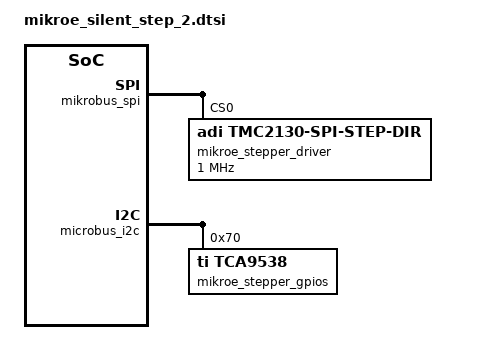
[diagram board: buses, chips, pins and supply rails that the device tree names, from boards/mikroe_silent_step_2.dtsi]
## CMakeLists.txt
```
# Copyright (c) 2021-2023 TiaC Systems
# Copyright (c) 2019-2021 Li-Pro.Net
# SPDX-License-Identifier: Apache-2.0

cmake_minimum_required(VERSION 3.20.0)

# Standard Bridle application boilerplate, includes Zephyr.
find_package(Zephyr REQUIRED HINTS $ENV{ZEPHYR_BASE})
project("stepper demo" VERSION 0.1)

# Add your source file to the "app" target. This must come after
# the boilerplate code, which defines the target.
target_sources(app PRIVATE src/main.c)
```

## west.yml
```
# Copyright (c) 2025 Navimatix GmbH
# SPDX-License-Identifier: Apache-2.0

manifest:
  remotes:
    # Url for the Github organization where the Zephyr repository (or in this case a fork)
    # is hosted. This can also be used to include other dependencies.
    - name: tiacsys
      url-base: https://github.com/tiacsys

  projects:
    # Definition of the Zephyr project to use
    - name: zephyr
      # We are using a fork of zephyr of the tiacsys organization
      remote: tiacsys
      # Zephyr branch used for this demo
      revision: tmc2130
      # Allows for calling o west commands without giving script source paths every time
      west-commands: scripts/west-commands.yml
      # Import the external modules required for this project using a whitelist. During
      # early development it is often easier to just import all modules with import: true
      # but this requires additional disk space and might slow down the build process.
      import:
        name-allowlist:
          - hal_nxp
          - hal_stm32
          - hal_rpi_pico
          - cmsis
```

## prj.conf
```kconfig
# Copyright (c) 2025 Navimatix GmbH
# SPDX-License-Identifier: Apache-2.0

CONFIG_BOOT_BANNER=y
CONFIG_INPUT=y
CONFIG_EVENTS=y
CONFIG_PRINTK=y
CONFIG_LOG=y
CONFIG_LOG_CMDS=y
CONFIG_TASK_WDT=y
CONFIG_COUNTER=y
CONFIG_ADC=y
CONFIG_GPIO=y
CONFIG_I2C=y
CONFIG_SPI=y
CONFIG_STEPPER=y
CONFIG_STEPPER_STEP_DIR_GENERATE_ISR_SAFE_EVENTS=y
```

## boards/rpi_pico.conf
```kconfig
# Copyright (c) 2025 Navimatix GmbH
# SPDX-License-Identifier: Apache-2.0

CONFIG_USB_DEVICE_STACK=y
CONFIG_USB_DEVICE_INITIALIZE_AT_BOOT=y

# Raspberry Pi @ Raspberry Pi Pico
CONFIG_USB_DEVICE_VID=0x2e8a
CONFIG_USB_DEVICE_PID=0x000a
CONFIG_USB_DEVICE_MANUFACTURER="Raspberry Pi (Navimatix GmbH)"
CONFIG_USB_DEVICE_PRODUCT="RPi Pico (CDC ACM) as EW25 demo"

CONFIG_SERIAL=y
CONFIG_CONSOLE=y
CONFIG_UART_CONSOLE=y
CONFIG_UART_LINE_CTRL=y
```

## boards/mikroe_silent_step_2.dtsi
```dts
/*
 * Copyright (c) 2025 Navimatix GmbH
 * SPDX-License-Identifier: Apache-2.0
 */

/*
 * Aliases for the devices used in the demo, this allows them
 * to be used without knowing the exact hardware configuration.
 */
/ {
	aliases {
		stepper-motor = &mikroe_stepper_driver;
	};
};

&mikrobus_spi {
	status = "okay";
	mikroe_stepper_driver: tmc2130@0 {
		compatible = "adi,tmc2130-spi-step-dir";
		reg = <0>;
		spi-max-frequency = <DT_FREQ_M(1)>; /* Maximum SPI bus frequency */
	};
};

&microbus_i2c {
	status = "okay";

	/* Configuration of the IO expander for driver setups, a TCA9538A. */
	mikroe_stepper_gpios: tca9538a@70 {
		compatible = "ti,tca9538";
		status = "okay";

		reg = <0x70>;

		gpio-controller;
		#gpio-cells = <2>;

		ngpios = <8>;

		gpio-reserved-ranges = <3 1>;
		gpio-line-names = "EN",		/* P0 */
				  "FT1",	/* P1 */
				  "FT2";	/* P2 */
	};
};
```

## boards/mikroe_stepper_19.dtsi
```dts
/*
 * Copyright (c) 2025 Navimatix GmbH
 * SPDX-License-Identifier: Apache-2.0
 */

/*
 * Aliases for the devices used in the demo, this allows them
 * to be used without knowing the exact hardware configuration.
 */
/ {
	aliases {
		stepper-motor = &mikroe_stepper_driver;
	};

	/* Configuration of the stepper motor driver, a DRV8424. */
	mikroe_stepper_driver: drv8424 {
		compatible = "ti,drv8424";
		status = "okay";

		#address-cells = <1>;
		#size-cells = <0>;
		#stepper-motor-cells = <0>;

		/*
		 * Timing source to generate the step signal. This one uses
		 * a counter to generate the signal and features acceleration.
		 */
		timing-source = "counter-accel";
	};
};

&microbus_i2c {
	status = "okay";

	/* Configuration of the IO expander for driver setups, a TCA9538A. */
	mikroe_stepper_gpios: tca9538a@70 {
		compatible = "ti,tca9538";
		status = "okay";

		reg = <0x70>;

		gpio-controller;
		#gpio-cells = <2>;

		ngpios = <8>;

		gpio-reserved-ranges = <7 1>;
		gpio-line-names = "M0",		/* S0 */
				  "M1",		/* S1 */
				  "DEC0",	/* S2 */
				  "DEC1",	/* S3 */
				  "TOFF",	/* S4 */
				  "STP",	/* S5 */
				  "DIR";	/* S6 */
	};
};
```

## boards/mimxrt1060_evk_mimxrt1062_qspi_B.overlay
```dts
/*
 * Copyright (c) 2025 Navimatix GmbH
 * SPDX-License-Identifier: Apache-2.0
 */

microbus_i2c: &arduino_i2c {};
#include "mikroe_stepper_19.dtsi"
#include "potentiometer_input.dtsi"

#include <zephyr/dt-bindings/gpio/gpio.h>

&mikroe_stepper_driver {
	sleep-gpios = <&arduino_header 9 GPIO_ACTIVE_LOW>;	/* D3 */
	dir-gpios = <&arduino_header 10 0>;			/* D4 */
	step-gpios = <&arduino_header 8 0>;			/* D2 */
	en-gpios = <&arduino_header 11 0>;			/* D5 */
	m0-gpios = <&mikroe_stepper_gpios 0 0>;			/* S0 */
	m1-gpios = <&mikroe_stepper_gpios 1 0>;			/* S1 */

	/* Timing source configuration. */
	counter = <&pit0_channel0>;
	accurate-steps = <15>;
	acceleration = <1600>;
};

&pit0_channel0 {
	status = "okay";
};

&adc1 {
	#address-cells = <1>;
	#size-cells = <0>;

	/* ADC channel configuration for the potentiometer. */
	channel@0 {
		reg = <0>;
		zephyr,gain = "ADC_GAIN_1";
		zephyr,reference = "ADC_REF_INTERNAL";
		zephyr,acquisition-time = <ADC_ACQ_TIME_DEFAULT>;
		zephyr,resolution = <12>;
	};
};

&potentiometer_input {
	io-channels = <&adc1 0>;
};
```

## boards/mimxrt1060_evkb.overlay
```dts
/*
 * Copyright (c) 2023-2024 TiaC Systems
 * SPDX-License-Identifier: Apache-2.0
 */

 #include <zephyr/dt-bindings/gpio/gpio.h>

 / {
	 zephyr,user {
		 stepper-motors = <&drv8424 0>;
	 };
 };
 
 &lpi2c1 {
	 status = "okay";
 
	 mikroe_stepper_gpios: mikroe_stepper_ctrl_tca9538a@70 {
		 status = "okay";
		 compatible = "ti,tca9538";
 
		 reg = < 0x70 >;
 
		 gpio-controller;
		 ngpios = < 8 >;
		 #gpio-cells = < 2 >;
 
		 gpio-reserved-ranges = < 7 1 >;
 
		 gpio-line-names =
			 "M0",
			 "M1",
			 "DEC0",
			 "DEC1",
			 "TOFF",
			 "STP",
			 "DIR";
	 };
 };
 
 / {
 
	 drv8424: drv8424 {
		 status = "okay";
		 compatible = "ti,drv8424";
		//  acceleration = < 200 >;
 
 
		 dir-gpios = < &arduino_header 9 0 >; /* D3 */
		 step-gpios = < &arduino_header 10 0 >; /* D4 */
		 sleep-gpios = < &arduino_header 8 GPIO_ACTIVE_LOW >; /* D2 */
		 en-gpios  = < &arduino_header 14 0 >; /* D8 */
		 m0-gpios = < &mikroe_stepper_gpios 0 0 >;
		 m1-gpios = < &mikroe_stepper_gpios 1 0 >;
		//  m0-gpios = < &arduino_header 10 0 >;
		//  m1-gpios = < &arduino_header 11 0 >;
		 counter = < &pit0_channel0 >;
 
		 #address-cells = < 1 >;
		 #size-cells = < 0 >;
		 #stepper-motor-cells = < 0 >;
 
	 };
 };

 &pit0_channel0 {
	status = "okay";
};
 

 
```

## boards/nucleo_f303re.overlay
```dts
/*
 * Copyright (c) 2025 Navimatix GmbH
 * SPDX-License-Identifier: Apache-2.0
 */

microbus_i2c: &arduino_i2c {};
mikrobus_spi: &spi1 {};
#include "mikroe_silent_step_2.dtsi"
#include "potentiometer_input.dtsi"

#include <zephyr/dt-bindings/gpio/gpio.h>

&mikroe_stepper_driver {
	dir-gpios = <&arduino_header 2 0>;			/* A2 */
	step-gpios = <&arduino_header 1 0>;			/* A1 */
	en-gpios = <&mikroe_stepper_gpios 0 GPIO_ACTIVE_LOW>;			/* A4 */

	/* Timing source configuration. */
	counter = <&counter2>;
	timing-source = "counter-accel";
	acceleration = <1600>;
	
	irun = <20>;
	ihold = <20>;
	stealth-chop-enabled;
};

&mikrobus_spi {
	pinctrl-0 = <&spi1_sck_pa5 &spi1_miso_pa6 &spi1_mosi_pa7>;
	pinctrl-names = "default";
	cs-gpios = < &arduino_header 16 0x11 >;
	status = "okay";
};

&timers2 {
	status = "okay";

	counter2: counter {
		 status = "okay";
	};
};

&adc1 {
	#address-cells = <1>;
	#size-cells = <0>;
	status = "okay";
	st,adc-clock-source = "SYNC";
	st,adc-prescaler = <0x2>;
	pinctrl-0 = <&adc1_in1_pa0>;
	pinctrl-names = "default";

	/* ADC channel configuration for the potentiometer. */
	channel@1 {
		reg = <1>;
		zephyr,gain = "ADC_GAIN_1";
		zephyr,reference = "ADC_REF_INTERNAL";
		zephyr,acquisition-time = <ADC_ACQ_TIME_DEFAULT>;
		zephyr,resolution = <12>;
	};
};

&potentiometer_input {
	io-channels = <&adc1 1>;
};
```

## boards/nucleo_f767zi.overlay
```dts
/*
 * Copyright (c) 2025 Navimatix GmbH
 * SPDX-License-Identifier: Apache-2.0
 */

microbus_i2c: &arduino_i2c {};
mikrobus_spi: &spi1 {};
#include "potentiometer_input.dtsi"
#include "mikroe_silent_step_2.dtsi"

#include <zephyr/dt-bindings/gpio/gpio.h>

&mikroe_stepper_driver {

	dir-gpios = <&arduino_header 14 0>; /* D8 */
	step-gpios = <&arduino_header 15 0>; /* D9 */
	en-gpios = <&mikroe_stepper_gpios 0 GPIO_ACTIVE_LOW>; /* D8 */

	/* Timing source configuration. */
	timing-source = "counter-accel";
	counter = <&counter2>;
	acceleration = <1600>;
	
	irun = <20>;
	ihold = <20>;
	stealth-chop-enabled;
};

&mikrobus_spi {
	pinctrl-0 = <&spi1_sck_pa5 &spi1_miso_pa6 &spi1_mosi_pa7>;
	pinctrl-names = "default";
};

&timers2 {
	status = "okay";

	counter2: counter {
		status = "okay";
	};
};

&adc1 {
	#address-cells = <1>;
	#size-cells = <0>;
	pinctrl-0 = <&adc1_in3_pa3>;

	/* ADC channel configuration for the potentiometer. */
	channel@3 {
		reg = <3>;
		zephyr,gain = "ADC_GAIN_1";
		zephyr,reference = "ADC_REF_INTERNAL";
		zephyr,acquisition-time = <ADC_ACQ_TIME_DEFAULT>;
		zephyr,resolution = <12>;
	};
};

&potentiometer_input {
	io-channels = <&adc1 3>;
};
```

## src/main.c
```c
/*
 * Copyright (c) 2025 Navimatix GmbH
 * SPDX-License-Identifier: Apache-2.0
 */

#include "zephyr/device.h"
#include "zephyr/devicetree.h"
#include <zephyr/drivers/counter.h>
#include <zephyr/drivers/gpio.h>
#include <zephyr/drivers/stepper.h>
#include <zephyr/dt-bindings/input/input-event-codes.h>
#include <zephyr/init.h>
#include <zephyr/input/input.h>
#include <zephyr/kernel.h>
#include <zephyr/sys/printk.h>
#include <zephyr/task_wdt/task_wdt.h>

/* Microstep resolution*/
#define MS_RESOLUTION 8

/* Defines speeds for the stepper motor, the api uses step interval timings in
 * nanoseconds, the microstep resolution is set to 8 for this demo and the motor needs 200 fulsteps
 * for one revolution. */
#define SPEED0 1250000 /* 800 microsteps/s -> 100 full steps/s -> 0.5 revolutions/s */
#define SPEED1 625000  /* 1600 microsteps/s -> 200 full steps/s -> 1.0 revolutions/s */
#define SPEED2 416667  /* 2400 microsteps/s -> 300 full steps/s -> 1.5 revolutions/s */

/* Number of microsteps/target posion for regular movement. */
#define SEGMENT_STEPS 6400

/* Defines watchdog timeout. */
#define WATCHDOG_TIMEOUT 5 * SEC_PER_MIN * MSEC_PER_SEC

/* Event IDs */
#define NEW_SPEED_EVENT_ID     0x001
#define MOVE_FINISHED_EVENT_ID 0x002
#define ALL_EVENT_ID           NEW_SPEED_EVENT_ID + MOVE_FINISHED_EVENT_ID

/* User data for the event callback. */
struct speed_selection_data {
	uint64_t speed;
	struct k_event event;
	int32_t watchdog_channel;
};

/* Watchdog callback to stop stepper motor if the speed hasn't changed for some time to save
 * power and reduce heat buildup. */
void watchdog_callback(int channel_id, void *user_data)
{
	struct speed_selection_data *selection_data = user_data;

	printk("Speed hasn't changed for some time, stopping motor.\n");

	selection_data->speed = 0;

	/* Posts the new_speed event after speed is set to 0, causing the motor to be stopped. */
	k_event_post(&selection_data->event, NEW_SPEED_EVENT_ID);
}

/* Stepper Callback, if stepper motor has stopped, send event. */
void stepper_callback(const struct device *dev, const enum stepper_event event, void *user_data)
{
	struct speed_selection_data *selection_data = user_data;

	k_event_post(&selection_data->event, MOVE_FINISHED_EVENT_ID);
}

/* Processes input events. */
static void speed_selection(struct input_event *evt, void *user_data)
{
	struct speed_selection_data *selection_data = user_data;

	/* Feeds watchdog, preventing stepper motor stop if speed is regularly changed. */
	task_wdt_feed(selection_data->watchdog_channel);

	if (evt->code == INPUT_KEY_1 && evt->value == 1) {
		selection_data->speed = 0;
	}
	if (evt->code == INPUT_KEY_2 && evt->value == 1) {
		selection_data->speed = SPEED0;
	}
	if (evt->code == INPUT_KEY_3 && evt->value == 1) {
		selection_data->speed = SPEED1;
	}
	if (evt->code == INPUT_KEY_4 && evt->value == 1) {
		selection_data->speed = SPEED2;
	}

	/* Post new_speed event, as the speed has changed. */
	k_event_post(&selection_data->event, NEW_SPEED_EVENT_ID);

	/* Print the input event value to console. */
	if (evt->value == 1) {
		printk("Speed Selection Code: %u\n", evt->code);
	}
}

/* Initialize Input callback, user data needs to be defined at compile time. */
struct speed_selection_data data;
INPUT_CALLBACK_DEFINE(DEVICE_DT_GET(DT_ALIAS(input_device)), speed_selection, &data);

int main(void)
{
	uint32_t events;
	int32_t err;

	/* Initialize data. */
	enum stepper_direction direction = STEPPER_DIRECTION_POSITIVE;
	const struct device *stepper = DEVICE_DT_GET(DT_ALIAS(stepper_motor));
	bool enabled = false;
	data.speed = 0;

	/* Initialize watchdog to cause the stepper motor to stop if the speed hasn't changed for
	 * some time. */
	err = task_wdt_init(NULL);
	data.watchdog_channel = task_wdt_add(WATCHDOG_TIMEOUT, watchdog_callback, &data);
	if (err < 0 || data.watchdog_channel < 0) {
		printk("Could not inizialize watchdog. Terminating programm.");
		return -ECANCELED;
	}

	/* Initial stepper configuration. */
	err = stepper_set_event_callback(stepper, stepper_callback, &data);
	if (err < 0) {
		printk("Could not set stepper event callback (error code %d). Terminating "
		       "programm.",
		       err);
		return -ECANCELED;
	}
	stepper_set_micro_step_res(stepper, MS_RESOLUTION);
	if (err < 0) {
		printk("Could not set microstep resolution (error code %d). Terminating "
		       "programm.",
		       err);
		return -ECANCELED;
	}

	/* Initialize event handling. */
	k_event_init(&data.event);

	/* We want to keep our motor turning, so this is an enless loop, but if we
	 * just want to perform a specific task, it would not be nessecary. */
	while (true) {
		events = k_event_wait(&data.event, ALL_EVENT_ID, false, K_FOREVER);

		/* If both events occur at the same time, we want to prioritize th new_speed event,
		 * as it makes the move_finished event irrelevant. */
		if ((events & NEW_SPEED_EVENT_ID) == NEW_SPEED_EVENT_ID) {
			k_event_clear(&data.event, ALL_EVENT_ID);
			/* If speed > 0, set motor into motion*/
			if (data.speed != 0) {
				/* Enable stepper, as it might have been disabled. */
				err = stepper_enable(stepper, true);
				if (err < 0) {
					printk("Could not enable stepper motor (error code %d). "
					       "Waiting for new event.",
					       err);
					continue;
				}
				enabled = true;
				/* Set stepper motor into motion. */
				err = stepper_set_microstep_interval(stepper, data.speed);
				if (err < 0) {
					printk("Could not set new speed (error code %d). "
					       "Waiting for new event.",
					       err);
					continue;
				}
				if (direction == STEPPER_DIRECTION_POSITIVE) {
					stepper_move_to(stepper, SEGMENT_STEPS);
				} else {
					stepper_move_to(stepper, 0);
				}
			}
			/* Otherwise stop motor by having it decelerate (the 0 speed is set by event
			   handling). */
			else {
				k_event_clear(&data.event, ALL_EVENT_ID);
				err = stepper_set_microstep_interval(stepper, 0);
				if (err < 0) {
					printk("Could not set speed to 0 (error code %d). "
					       "Waiting for new event.",
					       err);
					continue;
				}
				if (enabled) {
					stepper_run(stepper, direction);
				}
			}
		}
		/* If movement is finished either start moving in another direction or disable
		   motor. */
		else if (events == MOVE_FINISHED_EVENT_ID) {
			k_event_clear(&data.event, ALL_EVENT_ID);
			if (data.speed == 0) {
				printk("Disabling motor.\n");
				err = stepper_enable(stepper, false);
				if (err < 0) {
					printk("Could not disable motor (error code %d). "
					       "Waiting for new event.",
					       err);
					continue;
				}
				enabled = false;
			} else {
				/* Change direction. */
				if (direction == STEPPER_DIRECTION_POSITIVE) {
					direction = STEPPER_DIRECTION_NEGATIVE;
				} else {
					direction = STEPPER_DIRECTION_POSITIVE;
				}
				k_event_post(&data.event, NEW_SPEED_EVENT_ID);
			}
		}
	}
	return 0;
}
```
